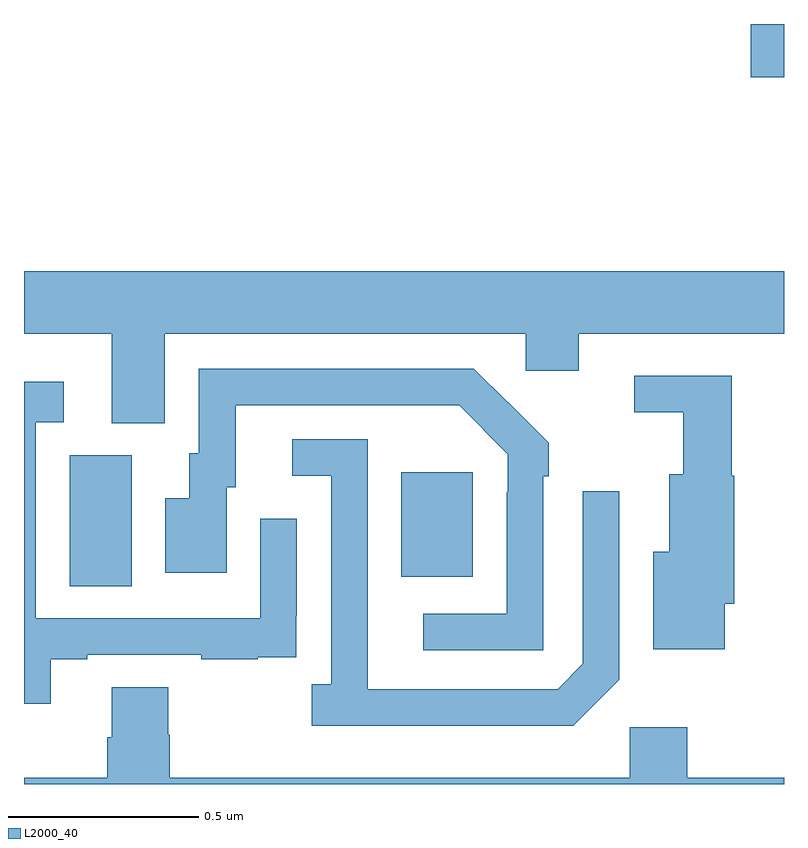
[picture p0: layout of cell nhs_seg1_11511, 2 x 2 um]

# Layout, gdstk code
import gdstk
lib = gdstk.Library(unit=1e-6, precision=1e-09)
def R(c, l, rs):  # rectangles x0, y0, x1, y1
    for r in rs: c.add(gdstk.rectangle(r[:2], r[2:], *l))
def P(c, l, *ps):  # polygons
    for p in ps: c.add(gdstk.Polygon(p, *l))
L2000_40 = (2000, 40)

nhs_seg1_11511 = lib.new_cell('nhs_seg1_11511')
R(nhs_seg1_11511, L2000_40, [(254.12,565.72,254.284,566.064), (254.993,565.745,255.181,566.02), (255.912,567.059,256,567.199)])
P(nhs_seg1_11511, L2000_40, [(254.371,566.384),(255.321,566.384),(255.321,566.286),(255.46,566.286),(255.46,566.384),(256,566.384),(256,566.548),(254,566.548),(254,566.384),(254.231,566.384),(254.231,566.149),(254.371,566.149)],
  [(255.366,566.009),(255.381,566.009),(255.381,566.097),(255.276,566.202),(255.275,566.201),(255.184,566.292),(254.46,566.292),(254.46,566.07),(254.435,566.07),(254.435,565.951),(254.372,565.951),(254.372,565.755),(254.533,565.755),(254.533,565.98),(254.557,565.98),(254.557,566.196),(255.145,566.196),(255.273,566.067),(255.273,565.967),(255.27,565.967),(255.27,565.647),(255.051,565.647),(255.051,565.551),(255.366,565.551)],
  [(255.844,565.674),(255.869,565.674),(255.869,566.01),(255.863,566.01),(255.863,566.274),(255.606,566.274),(255.606,566.177),(255.735,566.177),(255.735,566.014),(255.698,566.014),(255.698,565.81),(255.656,565.81),(255.656,565.553),(255.844,565.553)],
  [(254.071,565.527),(254.167,565.527),(254.167,565.539),(254.467,565.539),(254.467,565.527),(254.615,565.527),(254.615,565.533),(254.717,565.533),(254.717,565.642),(254.718,565.642),(254.718,565.897),(254.622,565.897),(254.622,565.635),(254.031,565.635),(254.031,566.151),(254.104,566.151),(254.104,566.257),(254,566.257),(254,565.41),(254.071,565.41)],
  [(255.567,565.473),(255.567,565.969),(255.471,565.969),(255.471,565.515),(255.405,565.449),(254.905,565.449),(254.905,565.649),(254.904,565.649),(254.904,566.106),(254.706,566.106),(254.706,566.01),(254.808,566.01),(254.808,565.462),(254.757,565.462),(254.757,565.352),(255.446,565.352)],
  [(256,565.216),(255.746,565.216),(255.746,565.348),(255.594,565.348),(255.594,565.216),(254.384,565.216),(254.384,565.329),(254.379,565.329),(254.379,565.454),(254.231,565.454),(254.231,565.322),(254.219,565.322),(254.219,565.216),(254,565.216),(254,565.199),(256,565.199)])

lib.write_gds('nhs_seg1_11511.gds')
